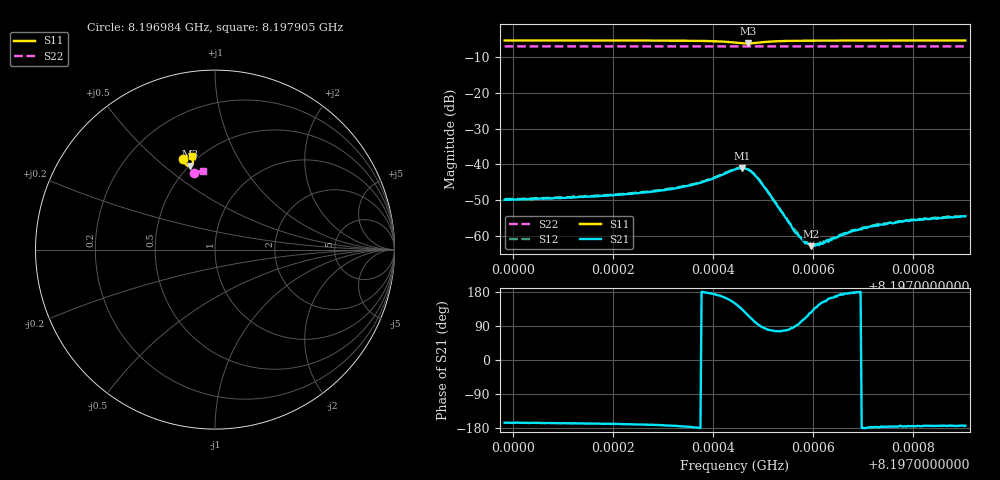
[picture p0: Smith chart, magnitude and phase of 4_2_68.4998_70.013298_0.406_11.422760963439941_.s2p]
#  HZ  S  RI  R  50.00
! Rohde & Schwarz Vector Network Analyzer
! Rohde-Schwarz,ZNB20-2Port,1311601062101988,3.16
! Created: UTC 3/20/2024, 4:48:44 PM
! freq[Hz]  re:S11  im:S11  re:S21  im:S21  re:S12  im:S12  re:S22  im:S22
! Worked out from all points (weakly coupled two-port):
!   401 points, 8.196984 GHz to 8.197905 GHz, reference 50 ohm
!   highest |S21| = -41.05 dB at 8.197458 GHz (marker M1); lowest = -62.9 dB at 8.197596 GHz (marker M2)
!   lowest |S11| = -6.3 dB at 8.19747 GHz (marker M3), VSWR 2.90, Z = 25.1 + j30.7 ohm
!   |S11| at or under -10 dB: nowhere
!   |S22| runs from -7.1 to -7.0 dB; largest |S21 - S12| = 0.00044
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8.1969837e9  -0.1804 0.5048  -0.00308 -0.000795  -0.00318 -0.000686  -0.1155 0.4288
8.197138e9  -0.1681 0.5085  -0.00343 -0.000788  -0.00349 -0.000607  -0.1071 0.4307
8.1972371e9  -0.1591 0.5105  -0.0038 -0.000696  -0.00393 -0.000548  -0.1016 0.432
8.1972924e9  -0.1528 0.5113  -0.00424 -0.000635  -0.00434 -0.00045  -0.0984 0.4324
8.1973269e9  -0.148 0.5115  -0.00464 -0.000525  -0.00474 -0.000323  -0.0963 0.4327
8.1973684e9  -0.1407 0.5104  -0.00536 -0.000155  -0.0055 6.93e-05  -0.0938 0.4331
8.1974029e9  -0.1319 0.5063  -0.0064 0.00071  -0.00649 0.000996  -0.0918 0.4333
8.1974444e9  -0.1226 0.4855  -0.00733 0.00431  -0.00728 0.00473  -0.0895 0.433
8.1974582e9  -0.1283 0.4731  -0.00615 0.00638  -0.00597 0.00676  -0.0889 0.4328
8.1974697e9  -0.14 0.4663  -0.00408 0.00741  -0.00383 0.00773  -0.0887 0.4329
8.1974812e9  -0.1532 0.4675  -0.00179 0.00718  -0.0015 0.0074  -0.0885 0.4331
8.1974951e9  -0.1636 0.4761  2.13e-05 0.00573  0.000258 0.0058  -0.0879 0.4336
8.1975642e9  -0.1602 0.5053  3.4e-05 0.00114  9.02e-05 0.00121  -0.084 0.4349
8.1975826e9  -0.1572 0.5079  -0.000256 0.000808  -0.00019 0.000836  -0.0829 0.4351
8.1975964e9  -0.1552 0.5095  -0.000412 0.00059  -0.000413 0.000631  -0.0822 0.4353
8.1975987e9  -0.1548 0.5098  -0.000473 0.000584  -0.000435 0.000601  -0.082 0.4354
8.1976125e9  -0.1529 0.511  -0.000613 0.000419  -0.000607 0.000463  -0.0812 0.4353
8.1976817e9  -0.145 0.5148  -0.0012 7.35e-05  -0.00119 8.89e-05  -0.0772 0.436
8.1977277e9  -0.1406 0.5164  -0.00142 -6.76e-05  -0.00144 1.17e-05  -0.0747 0.4364
8.1977531e9  -0.1383 0.517  -0.00153 -0.000119  -0.00153 -4.53e-05  -0.0733 0.4366
8.1978014e9  -0.1341 0.5184  -0.00165 -0.000146  -0.0017 -9.39e-05  -0.0705 0.437
8.1979051e9  -0.1257 0.5204  -0.00187 -0.000211  -0.00189 -0.000146  -0.0646 0.4376
